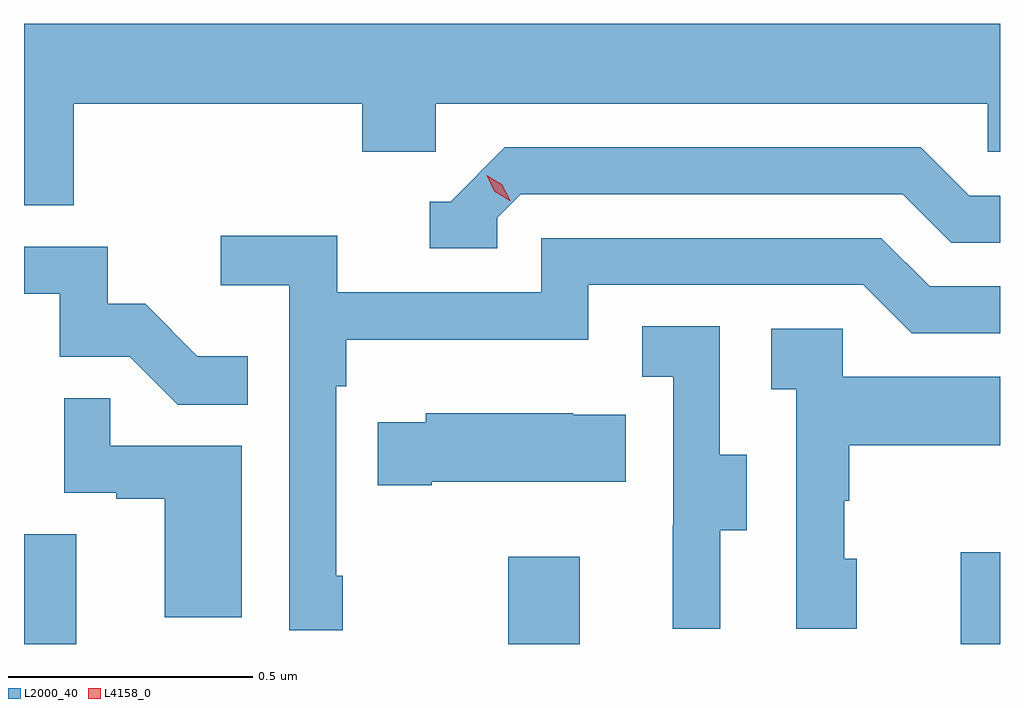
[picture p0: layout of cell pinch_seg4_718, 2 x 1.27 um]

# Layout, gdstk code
import gdstk
lib = gdstk.Library(unit=1e-6, precision=1e-09)
def R(c, l, rs):  # rectangles x0, y0, x1, y1
    for r in rs: c.add(gdstk.rectangle(r[:2], r[2:], *l))
def P(c, l, *ps):  # polygons
    for p in ps: c.add(gdstk.Polygon(p, *l))
L2000_40 = (2000, 40)
L4158_0 = (4158, 0)

pinch_seg4_718 = lib.new_cell('pinch_seg4_718')
R(pinch_seg4_718, L2000_40, [(1090.13,761.081,1090.237,761.306), (1091.122,761.081,1091.269,761.26), (1092.05,761.081,1092.13,761.269)])
P(pinch_seg4_718, L2000_40, [(1090.232,762.188),(1090.823,762.188),(1090.823,762.09),(1090.974,762.09),(1090.974,762.188),(1092.105,762.188),(1092.105,762.09),(1092.13,762.09),(1092.13,762.352),(1090.13,762.352),(1090.13,761.98),(1090.232,761.98)],
  [(1091.1,761.955),(1091.148,762.003),(1091.931,762.003),(1092.03,761.904),(1092.13,761.904),(1092.13,762),(1092.067,762),(1091.968,762.099),(1091.115,762.099),(1091.004,761.988),(1090.961,761.988),(1090.961,761.892),(1091.1,761.892)],
  [(1090.783,761.221),(1090.77,761.221),(1090.77,761.609),(1090.79,761.609),(1090.79,761.705),(1091.286,761.705),(1091.286,761.817),(1091.85,761.817),(1091.949,761.718),(1092.13,761.718),(1092.13,761.814),(1091.986,761.814),(1091.887,761.913),(1091.19,761.913),(1091.19,761.802),(1090.772,761.802),(1090.772,761.918),(1090.533,761.918),(1090.533,761.816),(1090.674,761.816),(1090.674,761.109),(1090.783,761.109)],
  [(1090.589,761.671),(1090.485,761.671),(1090.378,761.778),(1090.302,761.778),(1090.302,761.895),(1090.13,761.895),(1090.13,761.799),(1090.203,761.799),(1090.203,761.67),(1090.347,761.67),(1090.445,761.572),(1090.589,761.572)],
  [(1091.557,761.314),(1091.611,761.314),(1091.611,761.469),(1091.556,761.469),(1091.556,761.732),(1091.397,761.732),(1091.397,761.629),(1091.46,761.629),(1091.46,761.325),(1091.459,761.325),(1091.459,761.112),(1091.557,761.112)],
  [(1091.836,761.256),(1091.811,761.256),(1091.811,761.375),(1091.821,761.375),(1091.821,761.489),(1092.13,761.489),(1092.13,761.629),(1091.808,761.629),(1091.808,761.727),(1091.661,761.727),(1091.661,761.603),(1091.712,761.603),(1091.712,761.112),(1091.836,761.112)],
  [(1090.576,761.487),(1090.307,761.487),(1090.307,761.585),(1090.212,761.585),(1090.212,761.391),(1090.319,761.391),(1090.319,761.379),(1090.418,761.379),(1090.418,761.136),(1090.576,761.136)],
  [(1090.966,761.414),(1091.363,761.414),(1091.363,761.551),(1091.255,761.551),(1091.255,761.554),(1090.953,761.554),(1090.953,761.536),(1090.855,761.536),(1090.855,761.407),(1090.966,761.407)])
P(pinch_seg4_718, L4158_0, [(1091.125,761.99),(1091.094,762.009),(1091.078,762.042),(1091.078,762.042),(1091.078,762.042),(1091.109,762.023),(1091.126,761.991),(1091.126,761.99)])

lib.write_gds('pinch_seg4_718.gds')
